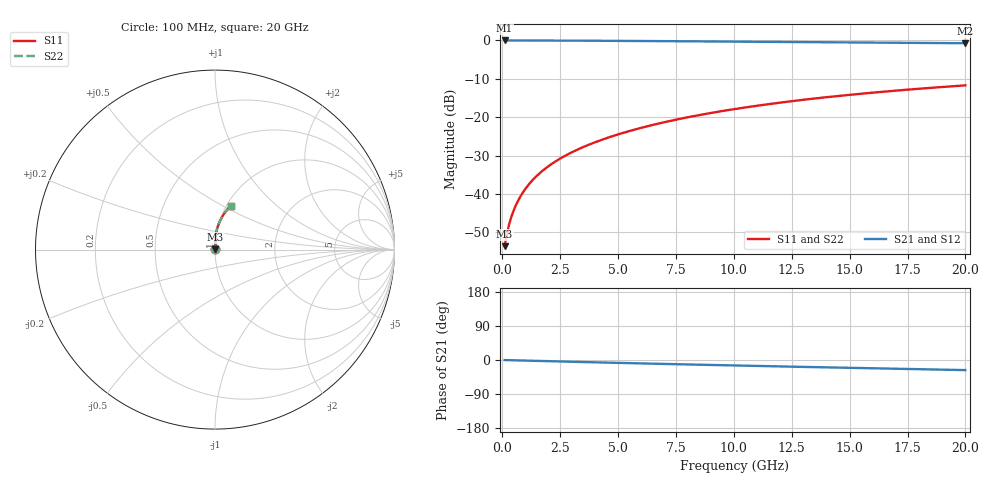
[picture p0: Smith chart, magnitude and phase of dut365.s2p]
! Touchstone file exported from HFSS 2024.1.0
!  File:  C:/UserFiles/LocalFiles/RDL_TSV_Batchsim/temp_RDL_top_365_1779608723.aedt
!  Generated:  03:48:05 PM May 24, 2026
!  Design:  RDL_top
!  Project:  temp_RDL_top_365_1779608723
!  Setup:  Setup1
!  Solution:  Sweep
! Variables:
!  dtsv = 10.80580581um
!  hbump = 3um
!  htsv = 91.73um
!  ldown = 100um
!  lrdl = 359.48um
!  p = 40
!  p1 = 50.24um
!  rhole = 1um
!  t = 450um
!  tdown = 3.915915916um
!  trdl = 3.78um
!  wdown = 15.38538539um
!  wrdl = 23.17um
# GHz S MA R 50.000000
! Terminal data exported
! Port[1] = Box2_T1
! Port[2] = Box2_T2
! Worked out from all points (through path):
!   200 points, 100 MHz to 20 GHz, reference 50 ohm
!   highest |S21| = -0.01 dB at 100 MHz (marker M1); lowest = -0.7 dB at 20 GHz (marker M2)
!   group delay of S21, straight-line fit = 3.67 ps
!   lowest |S11| = -53.6 dB at 100 MHz (marker M3), VSWR 1.00, Z = 50.2 + j0.127 ohm
!   |S11| at or under -10 dB: start of sweep to end of sweep
!   |S22| runs from -53.6 to -11.7 dB; largest |S21 - S12| = 3.4e-15
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0.1  0.002085 37.3  0.9983 -0.2  0.9983 -0.2  0.002085 37.3
! Gamma 0 0 0 0
! Port Impedance 50 0 50 0
0.2  0.003029 54.8  0.9982 -0.3  0.9982 -0.3  0.003029 54.8
0.3  0.004069 63.3  0.9981 -0.5  0.9981 -0.5  0.004069 63.3
0.4  0.005126 68.3  0.998 -0.6  0.998 -0.6  0.005126 68.3
0.5  0.006194 71.8  0.9979 -0.8  0.9979 -0.8  0.006194 71.8
0.6  0.007272 74.3  0.9978 -1.0  0.9978 -1.0  0.007272 74.3
0.8  0.009455 77.8  0.9976 -1.3  0.9976 -1.3  0.009455 77.8
1.1  0.01279 81.0  0.9973 -1.7  0.9973 -1.7  0.01279 81.0
1.5  0.0173 83.4  0.9967 -2.4  0.9967 -2.4  0.0173 83.4
1.8  0.02073 84.6  0.9962 -2.8  0.9962 -2.8  0.02073 84.5
2.1  0.0242 85.4  0.9955 -3.3  0.9955 -3.3  0.0242 85.4
2.7  0.03124 86.4  0.9941 -4.2  0.9941 -4.2  0.03124 86.4
3.5  0.04086 87.2  0.9917 -5.4  0.9917 -5.4  0.04086 87.2
4.2  0.0495 87.4  0.9893 -6.4  0.9893 -6.4  0.0495 87.4
5  0.05963 87.4  0.9862 -7.6  0.9862 -7.6  0.05963 87.4
6.8  0.08326 86.5  0.9787 -10.1  0.9787 -10.1  0.08326 86.5
8.4  0.105 85.1  0.9715 -12.3  0.9715 -12.3  0.105 85.1
10.1  0.1284 83.2  0.9639 -14.5  0.9639 -14.5  0.1284 83.2
11.7  0.1505 81.2  0.9566 -16.6  0.9566 -16.6  0.1505 81.2
13.4  0.1738 79.0  0.9489 -18.7  0.9489 -18.7  0.1738 79.0
16.7  0.2178 74.5  0.934 -22.7  0.934 -22.7  0.2178 74.5
20  0.2595 70.1  0.9187 -26.7  0.9187 -26.7  0.2595 70.1
